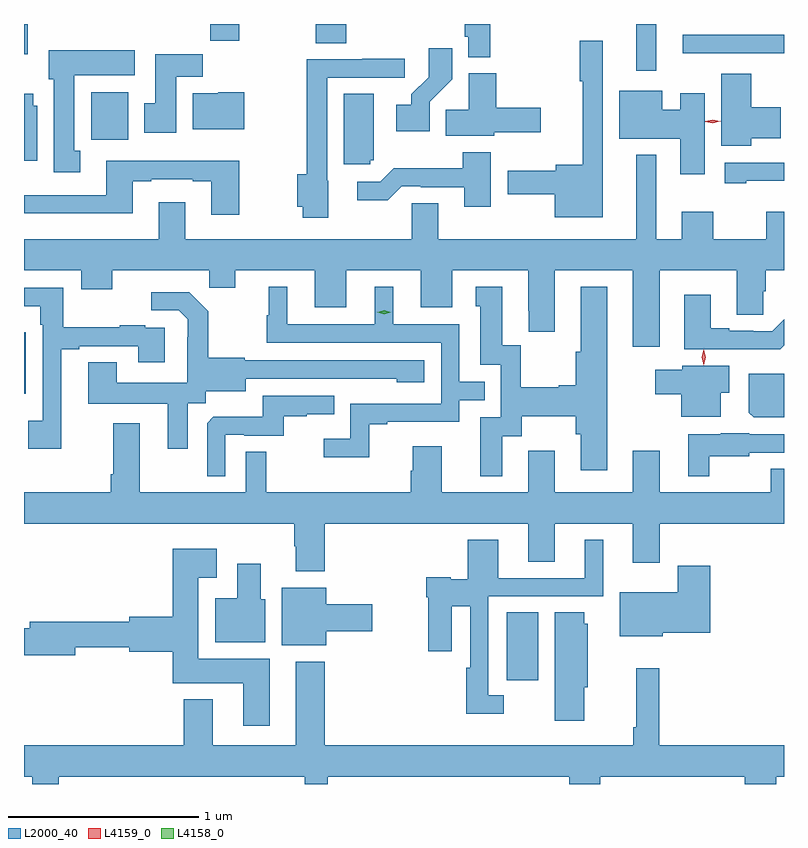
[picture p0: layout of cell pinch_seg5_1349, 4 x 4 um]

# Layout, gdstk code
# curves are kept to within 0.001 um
import gdstk
lib = gdstk.Library(unit=1e-6, precision=1e-09)
def R(c, l, rs):  # rectangles x0, y0, x1, y1
    for r in rs: c.add(gdstk.rectangle(r[:2], r[2:], *l))
def P(c, l, *ps):  # polygons
    for p in ps: c.add(gdstk.Polygon(p, *l))
L2000_40 = (2000, 40)
L4158_0 = (4158, 0)
L4159_0 = (4159, 0)

pinch_seg5_1349 = lib.new_cell('pinch_seg5_1349')
R(pinch_seg5_1349, L2000_40, [(186.422,906.552,186.586,906.908), (183.88,908.058,183.888,908.383), (184.233,909.396,184.429,909.646), (187.103,909.759,187.207,910.005), (183.88,909.846,183.901,910.005), (187.347,909.852,187.88,909.948), (185.416,909.904,185.576,910.005), (184.861,909.916,185.013,910.005)])
P(pinch_seg5_1349, L2000_40, [(186.335,910.005),(186.199,910.005),(186.199,909.939),(186.219,909.939),(186.219,909.83),(186.335,909.83)],
  [(186.925,909.916),(186.804,909.916),(186.804,909.703),(186.821,909.703),(186.821,909.263),(186.678,909.263),(186.678,909.232),(186.426,909.232),(186.426,909.11),(186.674,909.11),(186.674,908.987),(186.925,908.987)],
  [(186.015,909.595),(186.134,909.714),(186.134,909.877),(186.009,909.877),(186.009,909.725),(185.918,909.635),(185.918,909.58),(185.838,909.58),(185.838,909.44),(186.015,909.44)],
  [(184.177,909.337),(184.144,909.337),(184.144,909.734),(184.462,909.734),(184.462,909.868),(184.01,909.868),(184.01,909.714),(184.037,909.714),(184.037,909.225),(184.177,909.225)],
  [(184.681,909.728),(184.82,909.728),(184.82,909.847),(184.571,909.847),(184.571,909.588),(184.514,909.588),(184.514,909.432),(184.681,909.432)],
  [(185.482,909.18),(185.475,909.18),(185.475,909.723),(185.884,909.723),(185.884,909.822),(185.659,909.822),(185.659,909.819),(185.367,909.819),(185.367,909.215),(185.317,909.215),(185.317,909.044),(185.346,909.044),(185.346,908.984),(185.482,908.984)],
  [(186.354,909.434),(186.601,909.434),(186.601,909.564),(186.366,909.564),(186.366,909.745),(186.221,909.745),(186.221,909.554),(186.1,909.554),(186.1,909.416),(186.354,909.416)],
  [(187.708,909.404),(187.864,909.404),(187.864,909.568),(187.708,909.568),(187.708,909.742),(187.55,909.742),(187.55,909.365),(187.708,909.365)],
  [(187.462,909.64),(187.334,909.64),(187.334,909.555),(187.24,909.555),(187.24,909.655),(187.013,909.655),(187.013,909.401),(187.334,909.401),(187.334,909.213),(187.462,909.213)],
  [(185.038,909.646),(184.902,909.646),(184.902,909.64),(184.769,909.64),(184.769,909.452),(185.038,909.452)],
  [(185.703,909.288),(185.722,909.288),(185.722,909.637),(185.564,909.637),(185.564,909.267),(185.703,909.267)],
  [(183.949,909.576),(183.928,909.576),(183.928,909.637),(183.88,909.637),(183.88,909.284),(183.949,909.284)],
  [(186.337,909.331),(186.19,909.331),(186.19,909.247),(185.827,909.247),(185.754,909.174),(185.634,909.174),(185.634,909.077),(185.795,909.077),(185.868,909.15),(185.968,909.15),(185.968,909.147),(186.197,909.147),(186.197,909.042),(186.337,909.042)],
  [(186.061,909.062),(185.922,909.062),(185.922,908.872),(184.729,908.872),(184.729,909.067),(184.589,909.067),(184.589,908.872),(183.88,908.872),(183.88,908.708),(184.181,908.708),(184.181,908.609),(184.345,908.609),(184.345,908.708),(184.855,908.708),(184.855,908.618),(184.993,908.618),(184.993,908.708),(185.411,908.708),(185.411,908.514),(185.575,908.514),(185.575,908.708),(185.969,908.708),(185.969,908.514),(186.133,908.514),(186.133,908.708),(186.533,908.708),(186.533,908.497),(186.536,908.497),(186.536,908.385),(186.673,908.385),(186.673,908.708),(187.085,908.708),(187.085,908.307),(187.225,908.307),(187.225,908.708),(187.631,908.708),(187.631,908.476),(187.77,908.476),(187.77,908.598),(187.784,908.598),(187.784,908.708),(187.88,908.708),(187.88,909.016),(187.787,909.016),(187.787,908.872),(187.507,908.872),(187.507,909.016),(187.343,909.016),(187.343,908.872),(187.207,908.872),(187.207,909.316),(187.103,909.316),(187.103,908.872),(186.061,908.872)],
  [(185.013,909.286),(184.313,909.286),(184.313,909.105),(183.88,909.105),(183.88,909.008),(184.453,909.008),(184.453,909.177),(184.549,909.177),(184.549,909.189),(184.769,909.189),(184.769,909.177),(184.865,909.177),(184.865,909),(185.013,909)],
  [(187.681,909.179),(187.88,909.179),(187.88,909.276),(187.569,909.276),(187.569,909.168),(187.681,909.168)],
  [(185.697,907.899),(185.791,907.899),(185.791,907.911),(186.171,907.911),(186.171,908.025),(186.305,908.025),(186.305,908.121),(186.171,908.121),(186.171,908.424),(185.824,908.424),(185.824,908.623),(185.726,908.623),(185.726,908.424),(185.266,908.424),(185.266,908.623),(185.168,908.623),(185.168,908.472),(185.157,908.472),(185.157,908.328),(186.075,908.328),(186.075,908.007),(185.598,908.007),(185.598,907.822),(185.457,907.822),(185.457,907.724),(185.697,907.724)],
  [(186.397,907.834),(186.499,907.834),(186.499,907.94),(186.784,907.94),(186.784,907.845),(186.809,907.845),(186.809,907.656),(186.949,907.656),(186.949,908.623),(186.809,908.623),(186.809,908.281),(186.784,908.281),(186.784,908.105),(186.695,908.105),(186.695,908.092),(186.495,908.092),(186.495,908.315),(186.397,908.315),(186.397,908.623),(186.257,908.623),(186.257,908.52),(186.281,908.52),(186.281,908.211),(186.39,908.211),(186.39,907.935),(186.281,907.935),(186.281,907.626),(186.397,907.626)],
  [(184.075,908.292),(184.171,908.292),(184.171,908.31),(184.481,908.31),(184.481,908.226),(184.621,908.226),(184.621,908.406),(184.517,908.406),(184.517,908.419),(184.385,908.419),(184.385,908.408),(184.087,908.408),(184.087,908.616),(183.88,908.616),(183.88,908.519),(183.966,908.519),(183.966,908.423),(183.978,908.423),(183.978,907.918),(183.903,907.918),(183.903,907.77),(184.075,907.77)],
  [(184.741,908.008),(184.836,908.008),(184.836,908.072),(185.047,908.072),(185.047,908.139),(185.841,908.138),(185.841,908.12),(185.986,908.12),(185.986,908.235),(185.043,908.235),(185.043,908.248),(184.851,908.248),(184.851,908.493),(184.751,908.593),(184.551,908.593),(184.551,908.499),(184.695,908.499),(184.742,908.452),(184.742,908.357),(184.74,908.357),(184.74,908.116),(184.369,908.116),(184.369,908.225),(184.217,908.225),(184.217,908.006),(184.637,908.006),(184.637,907.77),(184.741,907.77)],
  [(187.88,908.313),(187.88,908.45),(187.818,908.388),(187.718,908.388),(187.718,908.391),(187.591,908.391),(187.591,908.404),(187.495,908.404),(187.495,908.581),(187.355,908.581),(187.355,908.294),(187.861,908.294)],
  [(187.546,908.063),(187.591,908.063),(187.591,908.206),(187.344,908.206),(187.344,908.185),(187.203,908.185),(187.203,908.056),(187.34,908.056),(187.34,907.937),(187.546,907.937)],
  [(187.88,908.164),(187.694,908.164),(187.694,907.96),(187.72,907.934),(187.88,907.934)],
  [(184.938,907.842),(185.038,907.842),(185.038,907.839),(185.246,907.839),(185.246,907.941),(185.369,907.941),(185.369,907.952),(185.513,907.952),(185.513,908.049),(185.136,908.049),(185.136,907.937),(184.877,907.937),(184.845,907.905),(184.845,907.625),(184.938,907.625)],
  [(185.462,907.376),(186.533,907.376),(186.533,907.174),(186.673,907.174),(186.673,907.376),(187.085,907.376),(187.085,907.17),(187.225,907.17),(187.225,907.376),(187.88,907.376),(187.88,907.664),(187.81,907.664),(187.81,907.54),(187.225,907.54),(187.225,907.759),(187.085,907.759),(187.085,907.54),(186.673,907.54),(186.673,907.759),(186.533,907.759),(186.533,907.54),(186.079,907.54),(186.079,907.783),(185.927,907.783),(185.927,907.653),(185.915,907.653),(185.915,907.54),(185.155,907.54),(185.155,907.754),(185.046,907.754),(185.046,907.54),(184.489,907.54),(184.489,907.903),(184.349,907.903),(184.349,907.636),(184.337,907.636),(184.337,907.54),(183.88,907.54),(183.88,907.376),(185.302,907.376),(185.302,907.256),(185.309,907.256),(185.309,907.124),(185.462,907.124)],
  [(187.486,907.73),(187.698,907.73),(187.698,907.749),(187.88,907.749),(187.88,907.845),(187.698,907.845),(187.698,907.852),(187.548,907.852),(187.548,907.846),(187.376,907.846),(187.376,907.625),(187.486,907.625)],
  [(186.406,906.471),(186.324,906.471),(186.324,906.993),(186.928,906.993),(186.928,907.291),(186.83,907.291),(186.83,907.089),(186.376,907.089),(186.376,907.291),(186.215,907.291),(186.215,907.083),(186.126,907.083),(186.126,907.093),(185.996,907.093),(185.996,906.989),(186.008,906.989),(186.008,906.705),(186.13,906.705),(186.13,906.941),(186.228,906.941),(186.228,906.617),(186.208,906.617),(186.208,906.374),(186.406,906.374)],
  [(185.173,906.664),(184.798,906.664),(184.798,907.091),(184.894,907.091),(184.894,907.243),(184.664,907.243),(184.664,906.884),(184.433,906.884),(184.433,906.86),(183.911,906.86),(183.911,906.824),(183.88,906.824),(183.88,906.682),(184.15,906.682),(184.15,906.724),(184.433,906.724),(184.433,906.701),(184.664,906.701),(184.664,906.536),(185.033,906.536),(185.033,906.312),(185.173,906.312)],
  [(185.149,906.978),(185.125,906.978),(185.125,907.165),(185.003,907.165),(185.003,906.982),(184.886,906.982),(184.886,906.752),(185.149,906.752)],
  [(187.242,906.8),(187.493,906.8),(187.493,907.153),(187.322,907.153),(187.322,907.015),(187.016,907.015),(187.016,906.782),(187.242,906.782)],
  [(185.47,906.809),(185.713,906.809),(185.713,906.951),(185.47,906.951),(185.47,907.039),(185.237,907.039),(185.237,906.734),(185.47,906.734)],
  [(186.829,906.513),(186.847,906.513),(186.847,906.849),(186.829,906.849),(186.829,906.908),(186.674,906.908),(186.674,906.339),(186.829,906.339)],
  [(184.063,906.044),(185.358,906.044),(185.358,906.005),(185.479,906.005),(185.479,906.044),(186.749,906.044),(186.749,906.005),(186.914,906.005),(186.914,906.044),(187.673,906.044),(187.673,906.005),(187.838,906.005),(187.838,906.044),(187.88,906.044),(187.88,906.208),(187.223,906.208),(187.223,906.613),(187.102,906.613),(187.102,906.304),(187.087,906.304),(187.087,906.208),(185.462,906.208),(185.462,906.649),(185.309,906.649),(185.309,906.208),(184.873,906.208),(184.873,906.451),(184.721,906.451),(184.721,906.208),(183.88,906.208),(183.88,906.044),(183.924,906.044),(183.924,906.005),(184.063,906.005)])
P(pinch_seg5_1349, L4158_0, [(185.775,908.478),(185.739,908.487),(185.739,908.488),(185.739,908.488),(185.775,908.498),(185.811,908.488),(185.811,908.488),(185.811,908.487)])
P(pinch_seg5_1349, L4159_0, [(187.505,909.482),(187.465,909.491),(187.465,909.491),(187.465,909.492),(187.505,909.502),(187.545,909.493),(187.546,909.493),(187.545,909.493)],
  [(187.458,908.21),(187.457,908.211),(187.448,908.252),(187.457,908.293),(187.458,908.293),(187.458,908.293),(187.467,908.252),(187.458,908.211)])

lib.write_gds('pinch_seg5_1349.gds')
